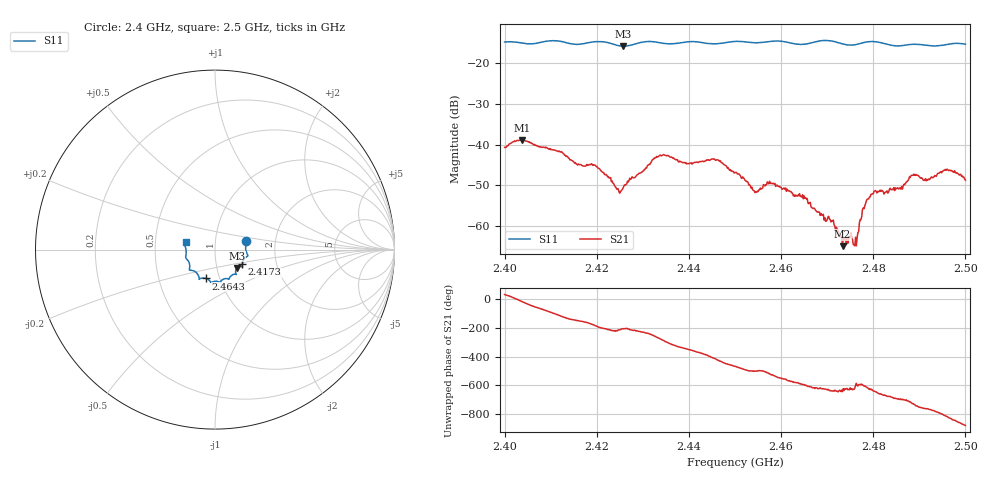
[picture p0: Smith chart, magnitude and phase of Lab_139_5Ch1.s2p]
# Hz S RI R 50
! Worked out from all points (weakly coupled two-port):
!   601 points, 2.4 GHz to 2.5 GHz, reference 50 ohm
!   highest |S21| = -38.88 dB at 2.4038 GHz (marker M1); lowest = -64.9 dB at 2.4733 GHz (marker M2)
!   lowest |S11| = -15.9 dB at 2.4257 GHz (marker M3), VSWR 1.38, Z = 62.5 - j13.1 ohm
!   |S11| at or under -10 dB: start of sweep to end of sweep
!   S12 and S22 are empty: the file has one direction only
!   S11 on the Smith chart (normalised r, x): 2.4 GHz: 1.41, +0.14; 2.4173 GHz: 1.34, -0.23; 2.4643 GHz: 0.86, -0.28; 2.5 GHz: 0.72, +0.06
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2.4e9  0.1734 0.0486  0.00761 0.00524  0 0  0 0
2.403833e9  0.1727 0.027  0.011 -0.00303  0 0  0 0
2.416667e9  0.1528 -0.0748  -0.00499 -0.00263  0 0  0 0
2.417333e9  0.1518 -0.0822  -0.00504 -0.00209  0 0  0 0
2.419833e9  0.1535 -0.0974  -0.00543 0.000491  0 0  0 0
2.425667e9  0.1227 -0.1024  -0.00266 0.00115  0 0  0 0
2.433333e9  0.1128 -0.1372  -0.000333 0.00711  0 0  0 0
2.445833e9  0.0484 -0.1641  0.00361 -0.0053  0 0  0 0
2.45e9  0.0288 -0.1808  -0.00131 -0.00434  0 0  0 0
2.454333e9  0.0074 -0.1762  -0.002 -0.00164  0 0  0 0
2.4575e9  -0.0167 -0.1814  -0.00328 -0.00138  0 0  0 0
2.464333e9  -0.0499 -0.1605  -0.00153 0.00174  0 0  0 0
2.466667e9  -0.076 -0.1592  -0.000494 0.00163  0 0  0 0
2.470833e9  -0.0876 -0.1637  0.000159 0.00112  0 0  0 0
2.473333e9  -0.093 -0.1432  0.000132 0.000556  0 0  0 0
2.476e9  -0.116 -0.1193  -0.00011 0.000566  0 0  0 0
2.479e9  -0.1408 -0.1148  -0.000257 0.00215  0 0  0 0
2.483333e9  -0.1406 -0.0899  0.00192 0.00181  0 0  0 0
2.488667e9  -0.1622 -0.0471  0.00417 -0.000537  0 0  0 0
2.491333e9  -0.1618 -0.0317  0.00286 -0.00254  0 0  0 0
2.495667e9  -0.1658 0.0167  -0.0002 -0.00497  0 0  0 0
2.5e9  -0.1636 0.0426  -0.00344 -0.00129  0 0  0 0
